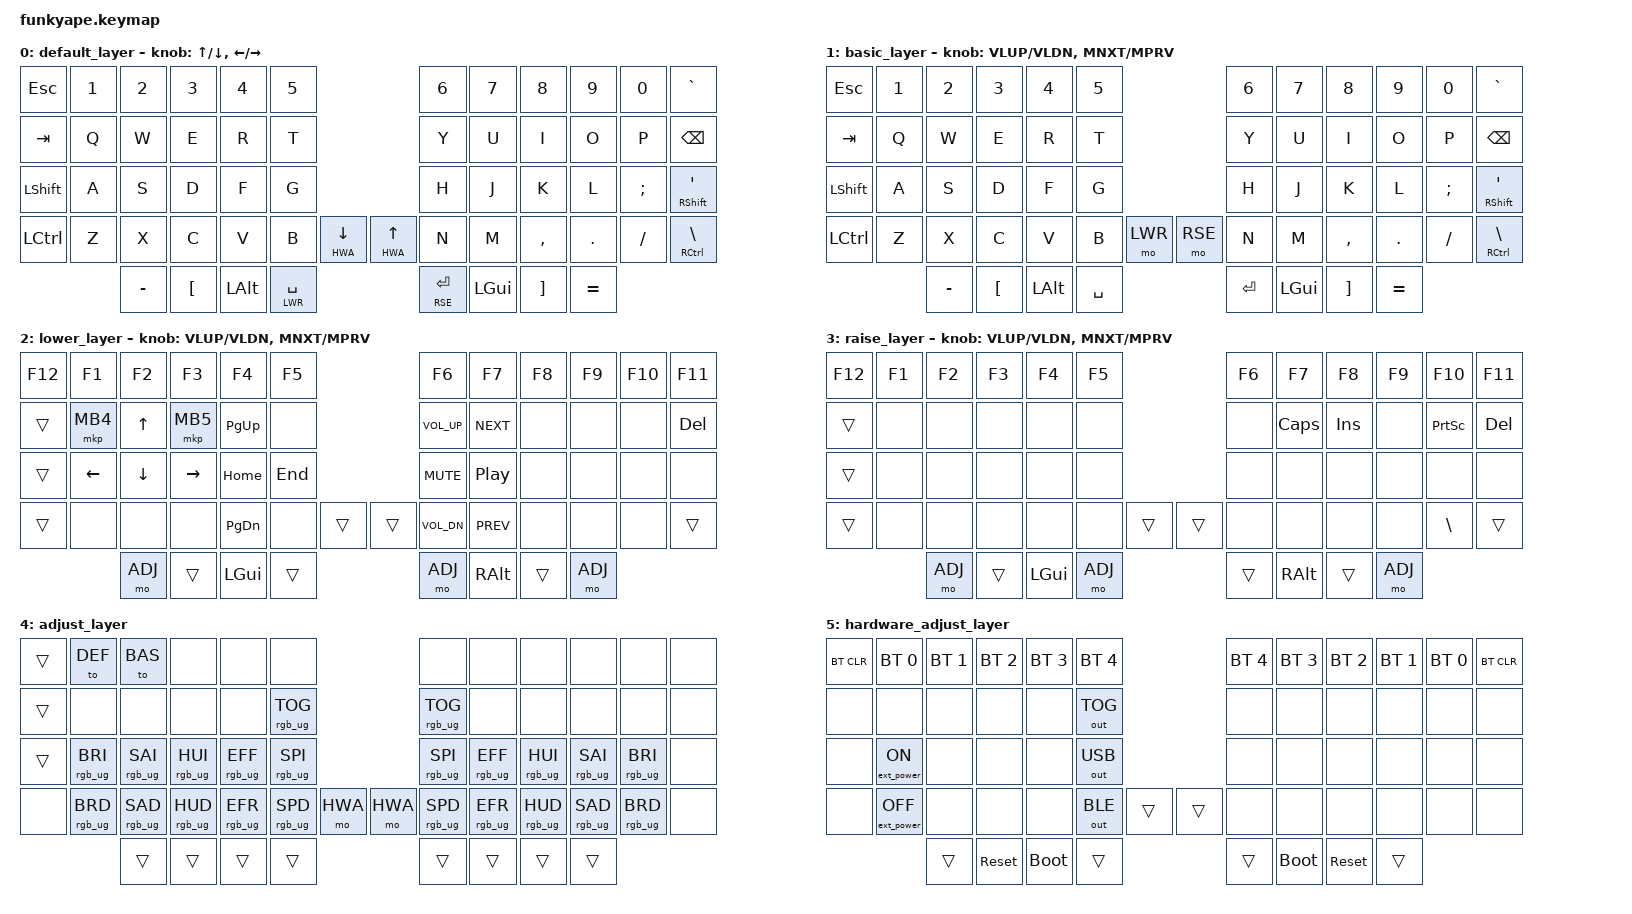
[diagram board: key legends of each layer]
#include <behaviors.dtsi>
#include <dt-bindings/zmk/keys.h>
#include <dt-bindings/zmk/bt.h>
#include <dt-bindings/zmk/ext_power.h>
#include <dt-bindings/zmk/rgb.h>
#include <dt-bindings/zmk/outputs.h>
#include <dt-bindings/zmk/mouse.h>

#define DEF 0
#define BAS 1
#define LWR 2
#define RSE 3
#define ADJ 4
#define HWA 5

#define VLUP C_VOL_UP
#define VLMT C_MUTE
#define VLDN C_VOL_DN
#define MNXT C_NEXT
#define MPLY C_PP
#define MPRV C_PREV

#define BTP BT_SEL
#define BTD BT_CLR

#define rgb  &rgb_ug
#define RTOG RGB_TOG
#define REFF RGB_EFF
#define REFR RGB_EFR
#define RHUI RGB_HUI
#define RHUD RGB_HUD
#define RSAI RGB_SAI
#define RSAD RGB_SAD
#define RBRI RGB_BRI
#define RBRD RGB_BRD
#define RSPI RGB_SPI
#define RSPD RGB_SPD

#define epw  &ext_power
#define ETOG EP_TOG
#define EOFF EP_OFF
#define EON  EP_ON

#define out  &out
#define OTOG OUT_TOG
#define OUSB OUT_USB
#define OBLE OUT_BLE


&led_strip {
    chain-length = <35>;
};

/ {
    keymap {
        compatible = "zmk,keymap";

        default_layer {
            bindings = <
// ┌─────────┬─────────┬─────────┬─────────┬─────────┬─────────┐                            ┌─────────┬─────────┬─────────┬─────────┬─────────┬─────────┐
    &kp ESC   &kp N1    &kp N2    &kp N3    &kp N4    &kp N5                                 &kp N6    &kp N7    &kp N8    &kp N9    &kp N0    &kp GRAVE
// ├─────────┼─────────┼─────────┼─────────┼─────────┼─────────┤                            ├─────────┼─────────┼─────────┼─────────┼─────────┼─────────┤
    &kp TAB   &kp Q     &kp W     &kp E     &kp R     &kp T                                  &kp Y     &kp U     &kp I     &kp O     &kp P     &kp BSPC
// ├─────────┼─────────┼─────────┼─────────┼─────────┼─────────┤                            ├─────────┼─────────┼─────────┼─────────┼─────────┼─────────┤
    &kp LSHFT &kp A     &kp S     &kp D     &kp F     &kp G                                  &kp H     &kp J     &kp K     &kp L     &kp SEMI  &mt RSHFT SQT
// ├─────────┼─────────┼─────────┼─────────┼─────────┼─────────┼─────────┐       ┌──────────┼─────────┼─────────┼─────────┼─────────┼─────────┼─────────┤
    &kp LCTRL &kp Z     &kp X     &kp C     &kp V     &kp B     &lt HWA DOWN      &lt HWA UP &kp N     &kp M     &kp COMMA &kp DOT   &kp FSLH  &mt RCTRL BSLH
// └─────────┴─────────┴┬────────┴┬────────┴┬────────┴┬────────┴─────────┴┐     ┌┴──────────┴────────┬┴────────┬┴────────┬┴────────┬┴─────────┴─────────┘
                         &kp MINUS &kp LBKT  &kp LALT    &lt LWR SPACE                &lt RSE ENTER   &kp LGUI  &kp RBKT  &kp EQUAL
//                      └─────────┴─────────┴─────────┴───────────────────┘     └────────────────────┴─────────┴─────────┴─────────┘
            >;
            sensor-bindings = <&inc_dec_kp UP DOWN &inc_dec_kp LEFT RIGHT>;
        };

        basic_layer {
            bindings = <
// ┌─────────┬─────────┬─────────┬─────────┬─────────┬─────────┐                            ┌─────────┬─────────┬─────────┬─────────┬─────────┬─────────┐
    &kp ESC   &kp N1    &kp N2    &kp N3    &kp N4    &kp N5                                 &kp N6    &kp N7    &kp N8    &kp N9    &kp N0    &kp GRAVE
// ├─────────┼─────────┼─────────┼─────────┼─────────┼─────────┤                            ├─────────┼─────────┼─────────┼─────────┼─────────┼─────────┤
    &kp TAB   &kp Q     &kp W     &kp E     &kp R     &kp T                                  &kp Y     &kp U     &kp I     &kp O     &kp P     &kp BSPC
// ├─────────┼─────────┼─────────┼─────────┼─────────┼─────────┤                            ├─────────┼─────────┼─────────┼─────────┼─────────┼─────────┤
    &kp LSHFT &kp A     &kp S     &kp D     &kp F     &kp G                                  &kp H     &kp J     &kp K     &kp L     &kp SEMI  &mt RSHFT SQT
// ├─────────┼─────────┼─────────┼─────────┼─────────┼─────────┼─────────┐       ┌──────────┼─────────┼─────────┼─────────┼─────────┼─────────┼─────────┤
    &kp LCTRL &kp Z     &kp X     &kp C     &kp V     &kp B     &mo LWR           &mo RSE    &kp N     &kp M     &kp COMMA &kp DOT   &kp FSLH  &mt RCTRL BSLH
// └─────────┴─────────┴┬────────┴┬────────┴┬────────┴┬────────┴─────────┴┐     ┌┴──────────┴────────┬┴────────┬┴────────┬┴────────┬┴─────────┴─────────┘
                         &kp MINUS &kp LBKT  &kp LALT       &kp SPACE                    &kp ENTER    &kp LGUI  &kp RBKT  &kp EQUAL
//                      └─────────┴─────────┴─────────┴───────────────────┘     └────────────────────┴─────────┴─────────┴─────────┘
            >;
            sensor-bindings = <&inc_dec_kp VLUP VLDN &inc_dec_kp MNXT MPRV>;
        };

        lower_layer {
            bindings = <
// ┌─────────┬─────────┬─────────┬─────────┬─────────┬─────────┐                            ┌─────────┬─────────┬─────────┬─────────┬─────────┬─────────┐
    &kp F12   &kp F1    &kp F2    &kp F3    &kp F4    &kp F5                                 &kp F6    &kp F7    &kp F8    &kp F9    &kp F10   &kp F11
// ├─────────┼─────────┼─────────┼─────────┼─────────┼─────────┤                            ├─────────┼─────────┼─────────┼─────────┼─────────┼─────────┤
    &trans    &mkp MB4  &kp UP    &mkp MB5  &kp PG_UP &none                                  &kp VLUP  &kp MNXT  &none     &none     &none     &kp DEL
// ├─────────┼─────────┼─────────┼─────────┼─────────┼─────────┤                            ├─────────┼─────────┼─────────┼─────────┼─────────┼─────────┤
    &trans    &kp LEFT  &kp DOWN  &kp RIGHT &kp HOME  &kp END                                &kp VLMT  &kp MPLY  &none     &none     &none     &none
// ├─────────┼─────────┼─────────┼─────────┼─────────┼─────────┼─────────┐       ┌──────────┼─────────┼─────────┼─────────┼─────────┼─────────┼─────────┤
    &trans    &none     &none     &none     &kp PG_DN &none     &trans            &trans     &kp VLDN  &kp MPRV  &none     &none     &none     &trans
// └─────────┴─────────┴┬────────┴┬────────┴┬────────┴┬────────┴─────────┴┐     ┌┴──────────┴────────┬┴────────┬┴────────┬┴────────┬┴─────────┴─────────┘
                         &mo ADJ   &trans    &kp LGUI         &trans                   &mo ADJ        &kp RALT  &trans    &mo ADJ
//                      └─────────┴─────────┴─────────┴───────────────────┘     └────────────────────┴─────────┴─────────┴─────────┘
            >;
            sensor-bindings = <&inc_dec_kp VLUP VLDN &inc_dec_kp MNXT MPRV>;
        };

        raise_layer {
            bindings = <
// ┌─────────┬─────────┬─────────┬─────────┬─────────┬─────────┐                            ┌─────────┬─────────┬─────────┬─────────┬─────────┬─────────┐
    &kp F12   &kp F1    &kp F2    &kp F3    &kp F4    &kp F5                                 &kp F6    &kp F7    &kp F8    &kp F9    &kp F10   &kp F11
// ├─────────┼─────────┼─────────┼─────────┼─────────┼─────────┤                            ├─────────┼─────────┼─────────┼─────────┼─────────┼─────────┤
    &trans    &none     &none     &none     &none     &none                                  &none     &kp CAPS  &kp INS   &none     &kp PSCRN &kp DEL
// ├─────────┼─────────┼─────────┼─────────┼─────────┼─────────┤                            ├─────────┼─────────┼─────────┼─────────┼─────────┼─────────┤
    &trans    &none     &none     &none     &none     &none                                  &none     &none     &none     &none     &none     &none
// ├─────────┼─────────┼─────────┼─────────┼─────────┼─────────┼─────────┐       ┌──────────┼─────────┼─────────┼─────────┼─────────┼─────────┼─────────┤
    &trans    &none     &none     &none     &none     &none     &trans            &trans     &none     &none     &none     &none     &kp BSLH  &trans
// └─────────┴─────────┴┬────────┴┬────────┴┬────────┴┬────────┴─────────┴┐     ┌┴──────────┴────────┬┴────────┬┴────────┬┴────────┬┴─────────┴─────────┘
                         &mo ADJ   &trans    &kp LGUI         &mo ADJ                   &trans        &kp RALT  &trans    &mo ADJ
//                      └─────────┴─────────┴─────────┴───────────────────┘     └────────────────────┴─────────┴─────────┴─────────┘
            >;
            sensor-bindings = <&inc_dec_kp VLUP VLDN &inc_dec_kp MNXT MPRV>;
        };

        adjust_layer {
            bindings = <
// ┌─────────┬─────────┬─────────┬─────────┬─────────┬─────────┐                            ┌─────────┬─────────┬─────────┬─────────┬─────────┬─────────┐
    &trans    &to DEF   &to BAS   &none     &none     &none                                  &none     &none     &none     &none     &none     &none
// ├─────────┼─────────┼─────────┼─────────┼─────────┼─────────┤                            ├─────────┼─────────┼─────────┼─────────┼─────────┼─────────┤
    &trans    &none     &none     &none     &none     rgb RTOG                               rgb RTOG  &none     &none     &none     &none     &none
// ├─────────┼─────────┼─────────┼─────────┼─────────┼─────────┤                            ├─────────┼─────────┼─────────┼─────────┼─────────┼─────────┤
    &trans    rgb RBRI  rgb RSAI  rgb RHUI  rgb REFF  rgb RSPI                               rgb RSPI  rgb REFF  rgb RHUI  rgb RSAI  rgb RBRI  &none
// ├─────────┼─────────┼─────────┼─────────┼─────────┼─────────┼─────────┐       ┌──────────┼─────────┼─────────┼─────────┼─────────┼─────────┼─────────┤
    &none     rgb RBRD  rgb RSAD  rgb RHUD  rgb REFR  rgb RSPD  &mo HWA           &mo HWA    rgb RSPD  rgb REFR  rgb RHUD  rgb RSAD  rgb RBRD  &none
// └─────────┴─────────┴┬────────┴┬────────┴┬────────┴┬────────┴─────────┴┐     ┌┴──────────┴────────┬┴────────┬┴────────┬┴────────┬┴─────────┴─────────┘
                         &trans    &trans    &trans           &trans                    &trans        &trans    &trans    &trans
//                      └─────────┴─────────┴─────────┴───────────────────┘     └────────────────────┴─────────┴─────────┴─────────┘
            >;
            // sensor-bindings = <&inc_dec_kp VLUP VLDN &inc_dec_kp MNXT MPRV>;
        };

        hardware_adjust_layer {
            bindings = <
// ┌─────────┬─────────┬─────────┬─────────┬─────────┬─────────┐                            ┌─────────┬─────────┬─────────┬─────────┬─────────┬─────────┐
    &bt BTD   &bt BTP 0 &bt BTP 1 &bt BTP 2 &bt BTP 3 &bt BTP 4                              &bt BTP 4 &bt BTP 3 &bt BTP 2 &bt BTP 1 &bt BTP 0 &bt BTD
// ├─────────┼─────────┼─────────┼─────────┼─────────┼─────────┤                            ├─────────┼─────────┼─────────┼─────────┼─────────┼─────────┤
    &none     &none     &none     &none     &none     out OTOG                               &none     &none     &none     &none     &none     &none
// ├─────────┼─────────┼─────────┼─────────┼─────────┼─────────┤                            ├─────────┼─────────┼─────────┼─────────┼─────────┼─────────┤
    &none     epw EON   &none     &none     &none     out OUSB                               &none     &none     &none     &none     &none     &none
// ├─────────┼─────────┼─────────┼─────────┼─────────┼─────────┼─────────┐       ┌──────────┼─────────┼─────────┼─────────┼─────────┼─────────┼─────────┤
    &none     epw EOFF  &none     &none     &none     out OBLE  &trans            &trans     &none     &none     &none     &none     &none     &none
// └─────────┴─────────┴┬────────┴┬────────┴┬────────┴┬────────┴─────────┴┐     ┌┴──────────┴────────┬┴────────┬┴────────┬┴────────┬┴─────────┴─────────┘
                         &trans   &sys_reset &bootloader      &trans                    &trans     &bootloader &sys_reset    &trans
//                      └─────────┴─────────┴─────────┴───────────────────┘     └────────────────────┴─────────┴─────────┴─────────┘
            >;
            // sensor-bindings = <&inc_dec_kp VLUP VLDN &inc_dec_kp MNXT MPRV>;
        };
    };
};
